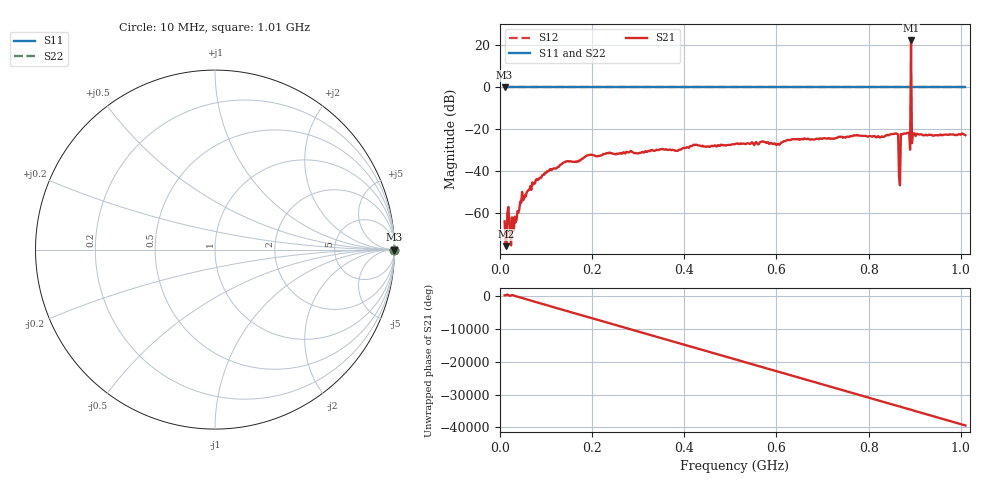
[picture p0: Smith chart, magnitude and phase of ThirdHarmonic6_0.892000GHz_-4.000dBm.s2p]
! 8/16/2025 5:18:14 AM
! C:\ANRITSUVNA\TEMP\TEMP.S2P
! CHANNEL.1
! TR.MEASUREMENT
! RAW.DATA
! RF.CORRECTION.OFF
! AVERAGING.OFF
! IF.BANDWIDTH: 5KHZ
! SWEEPTYPE:  FREQ.SWEEP(Linear)
! Reference Plane Port Info
! PORT:  PORT1  PORT2
! DISTANCE:  0  m  0  m
! TIME:  0  s  0  s
! PHASE.OFFSET:  0  deg.  0  deg.
! LOSS:  0  dB  0  dB
! REF.LOSS:  0  dB  0  dB
! REF.FREQ:  0  Hz  0  Hz
! Power Info
! POWER:  -20  dBm  -20  dBm
! EFF.POWER:  -20  dBm  -20  dBm
! SOURCE.ATTEN:  0  dB  0  dB
! TEST.ATTEN:  0  dB  0  dB
# GHZ S RI R 50.0
! FREQ.GHZ  S11RE  S11IM  S21RE  S21IM  S12RE  S12IM  S22RE  S22IM
!; PortSelection: Port_12
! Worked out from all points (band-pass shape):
!   501 points, 10 MHz to 1.01 GHz, reference 50 ohm
!   highest |S21| = 22.27 dB at 892 MHz (marker M1); lowest = -75.9 dB at 14 MHz (marker M2)
!   |S21| within 3 dB of the highest: 891.8848 MHz to 892.1224 MHz (237.6 kHz wide, 0.0266 % of centre)
!   lowest |S11| = 0.0 dB at 10 MHz (marker M3)
!   |S11| at or under -10 dB: nowhere
!   |S22| runs from 0.0 to 0.0 dB; largest |S21 - S12| = 12
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0.01  1 0  -0.00063 2.63e-05  1 0  1 0
0.014  1 0  4.03e-05 -0.000156  1 0  1 0
0.022  1 0  0.0003 -2.96e-05  1 0  1 0
0.026  1 0  -0.000161 -0.000764  1 0  1 0
0.048  1 0  -0.00251 0.00194  1 0  1 0
0.082  1 0  -0.00286 0.00533  1 0  1 0
0.178  1 0  -0.019 -0.00462  1 0  1 0
0.344  1 0  0.0309 -0.0058  1 0  1 0
0.51  1 0  -0.042 0.0118  1 0  1 0
0.678  1 0  -0.0196 -0.0534  1 0  1 0
0.844  1 0  0.0436 0.0572  1 0  1 0
0.86  1 0  -0.043 0.066  1 0  1 0
0.864  1 0  0.0581 -0.0469  1 0  1 0
0.868  1 0  -0.00171 -0.00423  1 0  1 0
0.87  1 0  0.0086 0.0755  1 0  1 0
0.874  1 0  0.0154 -0.0735  1 0  1 0
0.886  1 0  -0.0746 0.0318  1 0  1 0
0.888  1 0  0.0196 0.0803  1 0  1 0
0.892  1 0  10.75 -7.279  1 0  1 0
0.896  1 0  -0.0243 0.0742  1 0  1 0
0.898  1 0  0.0692 0.0383  1 0  1 0
1.01  1 0  -0.0666 -0.0255  1 0  1 0
